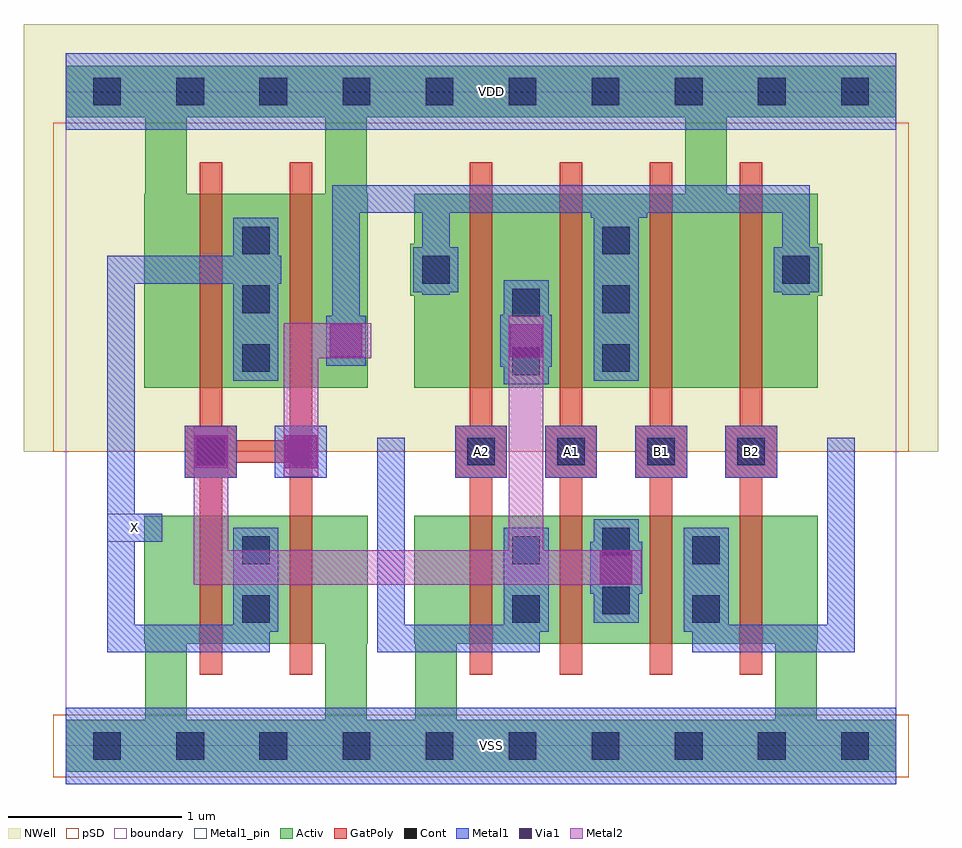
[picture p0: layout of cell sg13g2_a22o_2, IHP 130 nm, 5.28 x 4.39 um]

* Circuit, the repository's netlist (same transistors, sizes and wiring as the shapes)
.SUBCKT sg13g2_a22o_2 X A1 A2 B1 B2 VDD VSS
*.PININFO A1:I A2:I B1:I B2:I X:O VDD:B VSS:B
MN0 net1 A1 net2 VSS sg13_lv_nmos w=740.00n l=130.00n ng=1
MN1 net2 A2 VSS VSS sg13_lv_nmos w=740.00n l=130.00n ng=1
MN2 net1 B1 net3 VSS sg13_lv_nmos w=740.00n l=130.00n ng=1
MN3 net3 B2 VSS VSS sg13_lv_nmos w=740.00n l=130.00n ng=1
MP0 net1 A1 net4 VDD sg13_lv_pmos w=1.12u l=130.00n ng=1
MP1 net1 A2 net4 VDD sg13_lv_pmos w=1.12u l=130.00n ng=1
MP2 net4 B1 VDD VDD sg13_lv_pmos w=1.12u l=130.00n ng=1
MP3 net4 B2 VDD VDD sg13_lv_pmos w=1.12u l=130.00n ng=1
MN4 X net1 VSS VSS sg13_lv_nmos w=1.48u l=130.00n ng=2
MP4 X net1 VDD VDD sg13_lv_pmos w=2.24u l=130.00n ng=2
.ENDS

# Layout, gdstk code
import gdstk
lib = gdstk.Library(unit=1e-6, precision=1e-09)
def R(c, l, rs):  # rectangles x0, y0, x1, y1
    for r in rs: c.add(gdstk.rectangle(r[:2], r[2:], *l))
def A(c, l, x, y, w, h, nx, ny, dx, dy):  # array of equal rectangles
    R(c, l, [(x+i*dx, y+j*dy, x+i*dx+w, y+j*dy+h) for i in range(nx) for j in range(ny)])
def P(c, l, *ps):  # polygons
    for p in ps: c.add(gdstk.Polygon(p, *l))
Activ = (1, 0)
GatPoly = (5, 0)
Cont = (6, 0)
Metal1 = (8, 0)
Metal1_pin = (8, 2)
Metal2 = (10, 0)
pSD = (14, 0)
Via1 = (19, 0)
NWell = (31, 0)
boundary = (189, 4)

sg13g2_a22o_2 = lib.new_cell('sg13g2_a22o_2')
P(sg13g2_a22o_2, Activ, [(2.26,0.59),(2.26,1.33),(2.015,1.33),(2.015,0.59),(2.02,0.59),(2.02,0.15),(1.74,0.15),(1.74,0.59),(1.745,0.59),(1.745,1.33),(0.7,1.33),(0.7,0.59),(0.7,1.33),(0.455,1.33),(0.455,0.59),(0.46,0.59),(0.46,0.15),(0,0.15),(0,-0.15),(0.7,-0.15),(0.7,0.59),(1.5,0.59),(1.5,0.15),(0.7,0.15),(0.7,-0.15),(2.26,-0.15),(2.26,0.59),(4.1,0.59),(4.1,0.15),(2.26,0.15),(2.26,-0.15),(4.8,-0.15),(4.8,0.15),(4.34,0.15),(4.34,0.59),(4.345,0.59),(4.345,1.33),(2.26,1.33)],
  [(0.7,3.63),(0.7,3.93),(0,3.93),(0,3.63),(0.46,3.63),(0.46,3.19),(0.455,3.19),(0.455,2.07),(0.7,2.07),(0.7,3.63),(1.5,3.63),(1.5,3.19),(0.7,3.19),(0.7,2.07),(1.745,2.07),(1.745,3.19),(1.74,3.19),(1.74,3.63),(3.58,3.63),(3.58,3.19),(2.015,3.19),(2.015,2.9),(1.99,2.9),(1.99,2.6),(2.015,2.6),(2.015,2.07),(4.345,2.07),(4.345,2.6),(4.37,2.6),(4.37,2.9),(4.345,2.9),(4.345,3.19),(3.82,3.19),(3.82,3.63),(4.8,3.63),(4.8,3.93),(0.7,3.93)])
P(sg13g2_a22o_2, GatPoly, [(0.69,1.55),(0.775,1.55),(0.775,0.41),(0.905,0.41),(0.905,1.55),(0.99,1.55),(0.99,1.635),(1.295,1.635),(1.295,0.41),(1.425,0.41),(1.425,3.37),(1.295,3.37),(1.295,1.765),(0.99,1.765),(0.99,1.85),(0.905,1.85),(0.905,3.37),(0.775,3.37),(0.775,1.85),(0.69,1.85)],
  [(2.25,1.55),(2.335,1.55),(2.335,0.41),(2.465,0.41),(2.465,1.55),(2.55,1.55),(2.55,1.85),(2.465,1.85),(2.465,3.37),(2.335,3.37),(2.335,1.85),(2.25,1.85)],
  [(2.77,1.55),(2.855,1.55),(2.855,0.41),(2.985,0.41),(2.985,1.55),(3.07,1.55),(3.07,1.85),(2.985,1.85),(2.985,3.37),(2.855,3.37),(2.855,1.85),(2.77,1.85)],
  [(3.29,1.55),(3.375,1.55),(3.375,0.41),(3.505,0.41),(3.505,1.55),(3.59,1.55),(3.59,1.85),(3.505,1.85),(3.505,3.37),(3.375,3.37),(3.375,1.85),(3.29,1.85)],
  [(3.81,1.55),(3.895,1.55),(3.895,0.41),(4.025,0.41),(4.025,1.55),(4.11,1.55),(4.11,1.85),(4.025,1.85),(4.025,3.37),(3.895,3.37),(3.895,1.85),(3.81,1.85)])
A(sg13g2_a22o_2, Cont, 0.16, -0.08, 0.16, 0.16, 10, 2, 0.48, 3.78)
A(sg13g2_a22o_2, Cont, 2.32, 1.62, 0.16, 0.16, 4, 1, 0.52, 0)
A(sg13g2_a22o_2, Cont, 1.02, 2.16, 0.16, 0.16, 1, 3, 0, 0.34)
A(sg13g2_a22o_2, Cont, 3.1, 2.16, 0.16, 0.16, 1, 3, 0, 0.34)
R(sg13g2_a22o_2, Cont, [(1.02,0.71,1.18,0.87), (2.58,0.71,2.74,0.87), (3.62,0.71,3.78,0.87), (3.1,0.76,3.26,0.92), (1.02,1.05,1.18,1.21), (2.58,1.05,2.74,1.21), (3.62,1.05,3.78,1.21), (3.1,1.1,3.26,1.26), (0.76,1.62,0.92,1.78), (2.58,2.14,2.74,2.3), (2.58,2.48,2.74,2.64), (2.06,2.67,2.22,2.83), (4.14,2.67,4.3,2.83)])
A(sg13g2_a22o_2, Metal1, 2.25, 1.55, 0.3, 0.3, 4, 1, 0.52, 0)
R(sg13g2_a22o_2, Metal1, [(0,-0.22,4.8,0.22), (0.69,1.55,0.99,1.85), (1.21,1.55,1.51,1.85), (0,3.56,4.8,4)])
P(sg13g2_a22o_2, Metal1, [(0.24,0.54),(1.18,0.54),(1.18,0.66),(1.23,0.66),(1.23,1.26),(0.97,1.26),(0.97,0.7),(0.4,0.7),(0.4,1.18),(0.56,1.18),(0.56,1.34),(0.4,1.34),(0.4,2.67),(0.97,2.67),(0.97,2.11),(1.23,2.11),(1.23,2.67),(1.245,2.67),(1.245,2.83),(1.23,2.83),(1.23,3.05),(0.97,3.05),(0.97,2.83),(0.24,2.83)],
  [(1.505,2.195),(1.735,2.195),(1.735,2.485),(1.7,2.485),(1.7,3.08),(2.06,3.08),(2.06,2.88),(2.01,2.88),(2.01,2.62),(2.06,2.62),(2.06,2.605),(2.22,2.605),(2.22,2.62),(2.27,2.62),(2.27,2.88),(2.22,2.88),(2.22,3.08),(3.035,3.08),(3.035,3.05),(3.05,3.05),(3.05,2.11),(3.31,2.11),(3.31,3.05),(3.36,3.05),(3.36,3.08),(4.14,3.08),(4.14,2.88),(4.09,2.88),(4.09,2.62),(4.14,2.62),(4.14,2.605),(4.3,2.605),(4.3,2.62),(4.35,2.62),(4.35,2.88),(4.3,2.88),(4.3,3.24),(1.54,3.24),(1.54,2.485),(1.505,2.485)],
  [(1.8,0.54),(2.74,0.54),(2.74,0.66),(2.79,0.66),(2.79,1.26),(2.53,1.26),(2.53,0.7),(1.96,0.7),(1.96,1.78),(1.8,1.78)],
  [(2.51,2.19),(2.53,2.19),(2.53,2.09),(2.79,2.09),(2.79,2.19),(2.81,2.19),(2.81,2.49),(2.79,2.49),(2.79,2.69),(2.53,2.69),(2.53,2.49),(2.51,2.49)],
  [(3.03,0.88),(3.05,0.88),(3.05,0.71),(3.31,0.71),(3.31,0.88),(3.33,0.88),(3.33,1.18),(3.31,1.18),(3.31,1.31),(3.05,1.31),(3.05,1.18),(3.03,1.18)],
  [(3.57,0.66),(3.62,0.66),(3.62,0.54),(4.56,0.54),(4.56,1.78),(4.4,1.78),(4.4,0.7),(3.83,0.7),(3.83,1.26),(3.57,1.26)])
A(sg13g2_a22o_2, Metal1_pin, 2.25, 1.55, 0.3, 0.3, 4, 1, 0.52, 0)
R(sg13g2_a22o_2, Metal1_pin, [(0,-0.22,4.8,0.22), (0.24,1.18,0.56,1.34), (0,3.56,4.8,4)])
P(sg13g2_a22o_2, Metal2, [(0.74,0.93),(3.325,0.93),(3.325,1.13),(2.76,1.13),(2.76,2.485),(2.56,2.485),(2.56,1.13),(0.94,1.13),(0.94,1.845),(0.74,1.845)],
  [(1.26,1.555),(1.46,1.555),(1.46,2.24),(1.765,2.24),(1.765,2.44),(1.26,2.44)])
R(sg13g2_a22o_2, pSD, [(-0.07,-0.18,4.87,0.18), (-0.07,1.7,4.87,3.6)])
R(sg13g2_a22o_2, Via1, [(3.085,0.935,3.275,1.125), (0.745,1.605,0.935,1.795), (1.265,1.605,1.455,1.795), (1.525,2.245,1.715,2.435), (2.565,2.245,2.755,2.435)])
R(sg13g2_a22o_2, NWell, [(-0.24,1.7,5.04,4.17)])
R(sg13g2_a22o_2, boundary, [(0,0,4.8,3.78)])
sg13g2_a22o_2.add(gdstk.Label('X', (0.4,1.26), layer=8, texttype=25))
sg13g2_a22o_2.add(gdstk.Label('A2', (2.4,1.7), layer=8, texttype=25))
sg13g2_a22o_2.add(gdstk.Label('A1', (2.92,1.7), layer=8, texttype=25))
sg13g2_a22o_2.add(gdstk.Label('B1', (3.44,1.7), layer=8, texttype=25))
sg13g2_a22o_2.add(gdstk.Label('B2', (3.96,1.7), layer=8, texttype=25))
sg13g2_a22o_2.add(gdstk.Label('VSS', (2.46,0), layer=8, texttype=25))
sg13g2_a22o_2.add(gdstk.Label('VDD', (2.46,3.78), layer=8, texttype=25))

lib.write_gds('sg13g2_a22o_2.gds')
